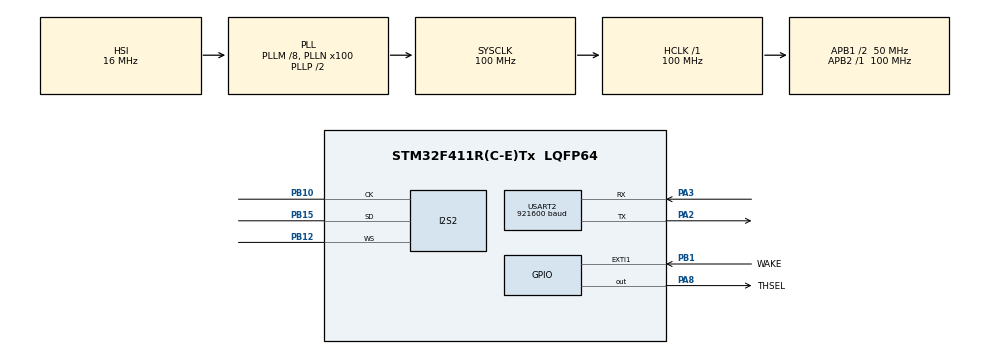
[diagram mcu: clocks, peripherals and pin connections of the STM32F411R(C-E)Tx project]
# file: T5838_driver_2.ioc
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Dma.Request0=USART2_TX
Dma.Request1=SPI2_RX
Dma.SPI2_RX.1.Direction=DMA_PERIPH_TO_MEMORY
Dma.SPI2_RX.1.FIFOMode=DMA_FIFOMODE_DISABLE
Dma.SPI2_RX.1.Instance=DMA1_Stream3
Dma.SPI2_RX.1.MemDataAlignment=DMA_MDATAALIGN_HALFWORD
Dma.SPI2_RX.1.MemInc=DMA_MINC_ENABLE
Dma.SPI2_RX.1.Mode=DMA_CIRCULAR
Dma.SPI2_RX.1.PeriphDataAlignment=DMA_PDATAALIGN_HALFWORD
Dma.SPI2_RX.1.PeriphInc=DMA_PINC_DISABLE
Dma.SPI2_RX.1.Priority=DMA_PRIORITY_HIGH
Dma.USART2_TX.0.Direction=DMA_MEMORY_TO_PERIPH
Dma.USART2_TX.0.FIFOMode=DMA_FIFOMODE_DISABLE
Dma.USART2_TX.0.Instance=DMA1_Stream6
Dma.USART2_TX.0.MemDataAlignment=DMA_MDATAALIGN_BYTE
Dma.USART2_TX.0.MemInc=DMA_MINC_ENABLE
Dma.USART2_TX.0.Mode=DMA_NORMAL
Dma.USART2_TX.0.PeriphDataAlignment=DMA_PDATAALIGN_BYTE
Dma.USART2_TX.0.PeriphInc=DMA_PINC_DISABLE
Dma.USART2_TX.0.Priority=DMA_PRIORITY_LOW
I2S2.ErrorAudioFreq=0.0 %
I2S2.FullDuplexMode=I2S_FULLDUPLEXMODE_DISABLE
I2S2.Instance=SPI$Index
I2S2.Mode=I2S_MODE_MASTER_RX
I2S2.RealAudioFreq=8.0 KHz
I2S2.VirtualMode=I2S_MODE_MASTER
Mcu.Family=STM32F4
Mcu.Name=STM32F411R(C-E)Tx
Mcu.Package=LQFP64
NVIC.DMA1_Stream3_IRQn=true\:0\:0\:false\:false\:true\:false\:true\:true
NVIC.DMA1_Stream6_IRQn=true\:0\:0\:false\:false\:true\:false\:true\:true
NVIC.EXTI1_IRQn=true\:0\:0\:false\:false\:true\:true\:true\:true
NVIC.PriorityGroup=NVIC_PRIORITYGROUP_4
NVIC.SPI2_IRQn=true\:0\:0\:false\:false\:true\:true\:true\:true
NVIC.USART2_IRQn=true\:0\:0\:false\:false\:true\:false\:true\:true
PA13.Mode=Serial_Wire
PA13.Signal=SYS_JTMS-SWDIO
PA14.Mode=Serial_Wire
PA14.Signal=SYS_JTCK-SWCLK
PA2.Mode=Asynchronous
PA2.Signal=USART2_TX
PA3.Mode=Asynchronous
PA3.Signal=USART2_RX
PA8.GPIO_Label=THSEL
PA8.Signal=GPIO_Output
PB1.GPIO_Label=WAKE
PB1.GPIO_PuPd=GPIO_PULLDOWN
PB1.Signal=GPXTI1
PB10.Mode=Half_Duplex_Master
PB10.Signal=I2S2_CK
PB12.Mode=Half_Duplex_Master
PB12.Signal=I2S2_WS
PB15.Mode=Half_Duplex_Master
PB15.Signal=I2S2_SD
ProjectManager.HeapSize=0x200
ProjectManager.StackSize=0x400
ProjectManager.TargetToolchain=STM32CubeIDE
RCC.48MHZClocksFreq_Value=50000000
RCC.AHBFreq_Value=100000000
RCC.APB1CLKDivider=RCC_HCLK_DIV2
RCC.APB1Freq_Value=50000000
RCC.APB1TimFreq_Value=100000000
RCC.APB2Freq_Value=100000000
RCC.APB2TimFreq_Value=100000000
RCC.CortexFreq_Value=100000000
RCC.HCLKFreq_Value=100000000
RCC.HSE_VALUE=25000000
RCC.HSI_VALUE=16000000
RCC.LSE_VALUE=32768
RCC.PLLI2SM=8
RCC.PLLI2SN=96
RCC.PLLI2SR=5
RCC.PLLM=8
RCC.PLLN=100
RCC.SYSCLKFreq_VALUE=100000000
RCC.SYSCLKSource=RCC_SYSCLKSOURCE_PLLCLK
RCC.VCOOutputFreq_Value=200000000
USART2.BaudRate=921600
USART2.VirtualMode=VM_ASYNC
board=custom

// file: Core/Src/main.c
/* USER CODE BEGIN Header */
/**
  ******************************************************************************
  * @file           : main.c
  * @brief          : Main program body
  ******************************************************************************
  * @attention
  *
  * Copyright (c) 2026 STMicroelectronics.
  * All rights reserved.
  *
  * This software is licensed under terms that can be found in the LICENSE file
  * in the root directory of this software component.
  * If no LICENSE file comes with this software, it is provided AS-IS.
  *
  ******************************************************************************
  */
/* USER CODE END Header */
#include "main.h"

/* USER CODE BEGIN Includes */
#include "t5838.h"
#include <stdio.h>
/* USER CODE END Includes */

I2S_HandleTypeDef hi2s2;
DMA_HandleTypeDef hdma_spi2_rx;

UART_HandleTypeDef huart2;
DMA_HandleTypeDef hdma_usart2_tx;

/* USER CODE BEGIN PV */
T5838_Handle_t hmic1;
#define CAPTURE_MS      5000U
#define BOOT_TEST       1       /* 1 = forteaza o captura la boot, fara sa astepti WAKE */
/* USER CODE END PV */

void SystemClock_Config(void);
static void MX_GPIO_Init(void);
static void MX_DMA_Init(void);
static void MX_I2S2_Init(void);
static void MX_USART2_UART_Init(void);
/* USER CODE BEGIN PFP */
static void I2S_PLL_Config(void);
/* USER CODE END PFP */

int main(void)
{

  /* MCU Configuration--------------------------------------------------------*/

  /* Reset of all peripherals, Initializes the Flash interface and the Systick. */
  HAL_Init();

  /* Configure the system clock */
  SystemClock_Config();

  /* Initialize all configured peripherals */
  MX_GPIO_Init();
  MX_DMA_Init();
  MX_I2S2_Init();
  MX_USART2_UART_Init();
  /* USER CODE BEGIN 2 */
  printf("\r\n=== T5838 AAD D2 ===\r\n");
  printf("SYSCLK=%lu Hz, I2SCLK=%lu Hz\r\n",
         (unsigned long)SystemCoreClock,
         (unsigned long)HAL_RCCEx_GetPeriphCLKFreq(RCC_PERIPHCLK_I2S));

  T5838_Init(&hmic1, &hi2s2, &huart2);   /* fara ACK ramane initializat, ca sa poti testa captura */
  //Verify_Config();
#if BOOT_TEST
  { extern void T5838_WakeIrq(void); T5838_WakeIrq(); }   /* simuleaza un WAKE */
#endif

  /* USER CODE END 2 */

  /* Infinite loop */
  /* USER CODE BEGIN WHILE */
  while (1)
  {
      /*if (T5838_TakeWake()) {
          printf("\r\n[WAKE] Pornire captura PDM...\r\n");
          if (T5838_StartCapture(&hmic1) != HAL_OK) {
              printf("[EROARE] StartCapture\r\n");
          } else {
              uint32_t t0 = HAL_GetTick();
              while (HAL_GetTick() - t0 < CAPTURE_MS) T5838_Poll(&hmic1);
              T5838_StopCapture(&hmic1);
              printf("\r\n[SLEEP] Captura gata (blocuri pierdute: %lu, ring: %lu)\r\n",
                     (unsigned long)hmic1.block_overruns, (unsigned long)hmic1.ring_overruns);
          }
      }
      HAL_Delay(5);*/
	  printf("alive %lu\r\n", (unsigned long)HAL_GetTick());
	  HAL_Delay(1000);
    /* USER CODE END WHILE */

  }
}

void SystemClock_Config(void)
{
  RCC_OscInitTypeDef RCC_OscInitStruct = {0};
  RCC_ClkInitTypeDef RCC_ClkInitStruct = {0};

  /** Configure the main internal regulator output voltage
  */
  __HAL_RCC_PWR_CLK_ENABLE();
  __HAL_PWR_VOLTAGESCALING_CONFIG(PWR_REGULATOR_VOLTAGE_SCALE1);

  /** Initializes the RCC Oscillators according to the specified parameters
  * in the RCC_OscInitTypeDef structure.
  */
  RCC_OscInitStruct.OscillatorType = RCC_OSCILLATORTYPE_HSI;
  RCC_OscInitStruct.HSIState = RCC_HSI_ON;
  RCC_OscInitStruct.HSICalibrationValue = RCC_HSICALIBRATION_DEFAULT;
  RCC_OscInitStruct.PLL.PLLState = RCC_PLL_ON;
  RCC_OscInitStruct.PLL.PLLSource = RCC_PLLSOURCE_HSI;
  RCC_OscInitStruct.PLL.PLLM = 8;
  RCC_OscInitStruct.PLL.PLLN = 100;
  RCC_OscInitStruct.PLL.PLLP = RCC_PLLP_DIV2;
  RCC_OscInitStruct.PLL.PLLQ = 4;
  if (HAL_RCC_OscConfig(&RCC_OscInitStruct) != HAL_OK)
  {
    Error_Handler();
  }

  /** Initializes the CPU, AHB and APB buses clocks
  */
  RCC_ClkInitStruct.ClockType = RCC_CLOCKTYPE_HCLK|RCC_CLOCKTYPE_SYSCLK
                              |RCC_CLOCKTYPE_PCLK1|RCC_CLOCKTYPE_PCLK2;
  RCC_ClkInitStruct.SYSCLKSource = RCC_SYSCLKSOURCE_PLLCLK;
  RCC_ClkInitStruct.AHBCLKDivider = RCC_SYSCLK_DIV1;
  RCC_ClkInitStruct.APB1CLKDivider = RCC_HCLK_DIV2;
  RCC_ClkInitStruct.APB2CLKDivider = RCC_HCLK_DIV1;

  if (HAL_RCC_ClockConfig(&RCC_ClkInitStruct, FLASH_LATENCY_3) != HAL_OK)
  {
    Error_Handler();
  }
}

static void MX_I2S2_Init(void)
{

  hi2s2.Instance = SPI2;
  hi2s2.Init.Mode = I2S_MODE_MASTER_RX;
  hi2s2.Init.Standard = I2S_STANDARD_PHILIPS;
  hi2s2.Init.DataFormat = I2S_DATAFORMAT_16B;
  hi2s2.Init.MCLKOutput = I2S_MCLKOUTPUT_DISABLE;
  hi2s2.Init.AudioFreq = I2S_AUDIOFREQ_8K;
  hi2s2.Init.CPOL = I2S_CPOL_LOW;
  hi2s2.Init.ClockSource = I2S_CLOCK_PLL;
  hi2s2.Init.FullDuplexMode = I2S_FULLDUPLEXMODE_DISABLE;
  if (HAL_I2S_Init(&hi2s2) != HAL_OK)
  {
    Error_Handler();
  }

}

static void MX_USART2_UART_Init(void)
{

  huart2.Instance = USART2;
  huart2.Init.BaudRate = 921600;
  huart2.Init.WordLength = UART_WORDLENGTH_8B;
  huart2.Init.StopBits = UART_STOPBITS_1;
  huart2.Init.Parity = UART_PARITY_NONE;
  huart2.Init.Mode = UART_MODE_TX_RX;
  huart2.Init.HwFlowCtl = UART_HWCONTROL_NONE;
  huart2.Init.OverSampling = UART_OVERSAMPLING_16;
  if (HAL_UART_Init(&huart2) != HAL_OK)
  {
    Error_Handler();
  }

}

static void MX_DMA_Init(void)
{

  /* DMA controller clock enable */
  __HAL_RCC_DMA1_CLK_ENABLE();

  /* DMA interrupt init */
  /* DMA1_Stream3_IRQn interrupt configuration */
  HAL_NVIC_SetPriority(DMA1_Stream3_IRQn, 0, 0);
  HAL_NVIC_EnableIRQ(DMA1_Stream3_IRQn);
  /* DMA1_Stream6_IRQn interrupt configuration */
  HAL_NVIC_SetPriority(DMA1_Stream6_IRQn, 0, 0);
  HAL_NVIC_EnableIRQ(DMA1_Stream6_IRQn);

}

static void MX_GPIO_Init(void)
{
  GPIO_InitTypeDef GPIO_InitStruct = {0};

  /* GPIO Ports Clock Enable */
  __HAL_RCC_GPIOA_CLK_ENABLE();
  __HAL_RCC_GPIOB_CLK_ENABLE();

  /*Configure GPIO pin Output Level */
  HAL_GPIO_WritePin(THSEL_GPIO_Port, THSEL_Pin, GPIO_PIN_RESET);

  /*Configure GPIO pin : WAKE_Pin */
  GPIO_InitStruct.Pin = WAKE_Pin;
  GPIO_InitStruct.Mode = GPIO_MODE_IT_RISING;
  GPIO_InitStruct.Pull = GPIO_PULLDOWN;
  HAL_GPIO_Init(WAKE_GPIO_Port, &GPIO_InitStruct);

  /*Configure GPIO pin : THSEL_Pin */
  GPIO_InitStruct.Pin = THSEL_Pin;
  GPIO_InitStruct.Mode = GPIO_MODE_OUTPUT_PP;
  GPIO_InitStruct.Pull = GPIO_NOPULL;
  GPIO_InitStruct.Speed = GPIO_SPEED_FREQ_LOW;
  HAL_GPIO_Init(THSEL_GPIO_Port, &GPIO_InitStruct);

  /* EXTI interrupt init*/
  HAL_NVIC_SetPriority(EXTI1_IRQn, 0, 0);
  HAL_NVIC_EnableIRQ(EXTI1_IRQn);

}

/* USER CODE BEGIN 4 */
void HAL_GPIO_EXTI_Callback(uint16_t GPIO_Pin){
    if (GPIO_Pin == T5838_WAKE_PIN) T5838_WakeIrq();
}
void HAL_I2S_RxHalfCpltCallback(I2S_HandleTypeDef *hi2s){
    if (hi2s->Instance == SPI2) T5838_DmaHalf(&hmic1);
}
void HAL_I2S_RxCpltCallback(I2S_HandleTypeDef *hi2s){
    if (hi2s->Instance == SPI2) T5838_DmaFull(&hmic1);
}

static void I2S_PLL_Config(void){
    RCC_PeriphCLKInitTypeDef pc = {0};
    pc.PeriphClockSelection = RCC_PERIPHCLK_I2S;
    pc.PLLI2S.PLLI2SM = 8;      /* 16 MHz / 8 = 2 MHz */
    pc.PLLI2S.PLLI2SN = 96;     /* VCO 192 MHz */
    pc.PLLI2S.PLLI2SR = 5;      /* 38.4 MHz */
    if (HAL_RCCEx_PeriphCLKConfig(&pc) != HAL_OK) Error_Handler();
}
/* USER CODE END 4 */

void Error_Handler(void)
{
  __disable_irq();
  while (1)
  {
  }
}
